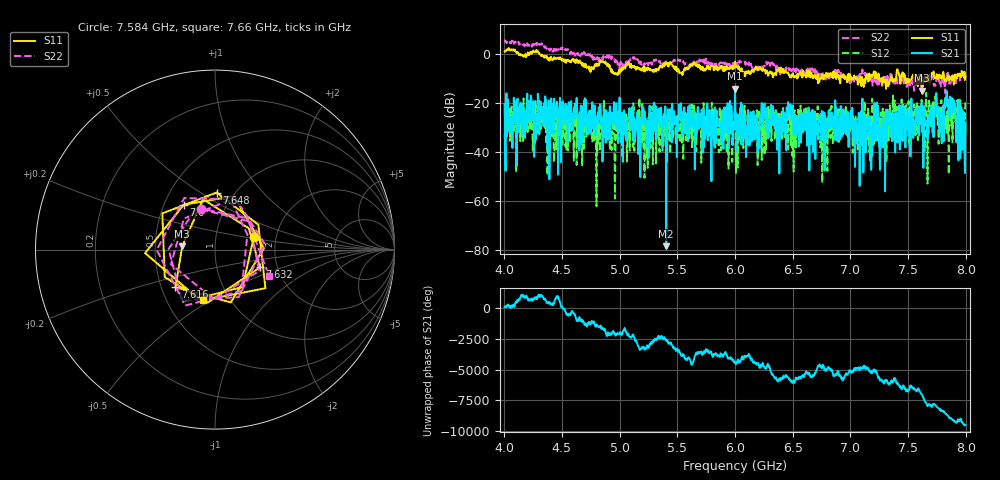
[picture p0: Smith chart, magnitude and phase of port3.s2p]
# Hz S RI R 50
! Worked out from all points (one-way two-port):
!   999 points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, 4.004 GHz to 7.996 GHz, reference 50 ohm
!   highest |S21| = -13.92 dB at 6 GHz (marker M1); lowest = -78.2 dB at 5.404 GHz (marker M2)
!   lowest |S11| = -14.7 dB at 7.62 GHz (marker M3), VSWR 1.45, Z = 34.5 + j1.36 ohm
!   |S11| at or under -10 dB: 7.287 GHz to 7.349 GHz (62.57 MHz wide, 0.855 % of centre); 7.492358 GHz to 7.527138 GHz (34.78 MHz wide, 0.463 % of centre); 7.556419 GHz to 7.593238 GHz (36.82 MHz wide, 0.486 % of centre) (the widest 3 of 41)
!   |S22| runs from -15.7 to 5.7 dB; largest |S21 - S12| = 0.23
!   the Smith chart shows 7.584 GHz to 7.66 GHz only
!   S11 on the Smith chart (normalised r, x): 7.584 GHz: 1.53, +0.22; 7.6 GHz: 0.63, +0.35; 7.616 GHz: 0.59, -0.27; 7.632 GHz: 1.62, -0.35; 7.648 GHz: 0.83, +0.59; 7.66 GHz: 0.75, -0.47
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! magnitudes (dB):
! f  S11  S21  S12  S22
! 4.004 GHz  1.3  -20.2  -34.2  5.1
! 4.072 GHz  1.6  -38.2  -27.2  5.0
! 4.672 GHz  -4.0  -36.0  -34.8  0.5
! 5.336 GHz  -6.4  -22.1  -33.5  -2.3
! 5.404 GHz  -3.4  -78.2  -26.5  -3.8
! 6 GHz  -2.9  -13.9  -20.4  -3.6
! 6.668 GHz  -8.8  -31.4  -23.9  -5.7
! 7.188 GHz  -9.2  -41.3  -18.1  -10.8
! 7.224 GHz  -8.1  -23.7  -26.0  -11.6
! 7.26 GHz  -10.5  -30.5  -39.3  -9.3
! 7.332 GHz  -11.3  -25.5  -35.1  -11.3
! 7.584 GHz  -12.9  -21.9  -34.9  -12.5
! 7.6 GHz  -10.3  -28.6  -22.3  -11.7
! 7.616 GHz  -10.3  -20.3  -18.5  -11.3
! 7.62 GHz  -14.7  -27.1  -19.0  -9.0
! 7.632 GHz  -11.4  -46.3  -25.5  -10.4
! 7.648 GHz  -9.9  -26.9  -24.0  -11.7
! 7.66 GHz  -10.8  -27.4  -24.4  -9.5
! 7.748 GHz  -8.1  -18.6  -25.2  -10.3
! 7.792 GHz  -8.5  -36.2  -24.5  -11.6
! 7.836 GHz  -9.8  -15.3  -32.0  -8.0
! 7.996 GHz  -9.0  -27.8  -19.6  -9.8
